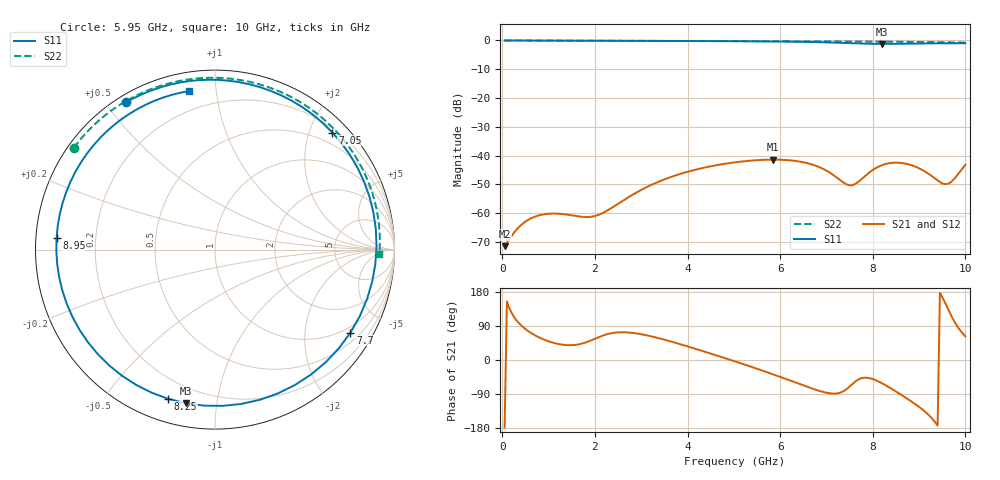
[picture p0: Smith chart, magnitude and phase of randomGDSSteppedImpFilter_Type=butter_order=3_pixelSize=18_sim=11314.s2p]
! freq	dB(S11)	phase(S11)	dB(S12)	phase(S12)
!  dB(S21)	phase(S21)	dB(S22)	phase(S22)
!S-par simulation data
#  GHz  S  DB  R 50
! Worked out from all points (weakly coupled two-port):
!   200 points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, 50 MHz to 10 GHz, reference 50 ohm
!   highest |S21| = -41.38 dB at 5.85 GHz (marker M1); lowest = -71.4 dB at 50 MHz (marker M2)
!   lowest |S11| = -1.2 dB at 8.2 GHz (marker M3), VSWR 14.54, Z = 5.77 - j41 ohm
!   |S11| at or under -10 dB: nowhere
!   |S22| runs from -0.8 to 0.0 dB; largest |S21 - S12| = 0
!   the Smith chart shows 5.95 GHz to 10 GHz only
!   S11 on the Smith chart (normalised r, x): 5.95 GHz: 0.03, +0.56; 7.05 GHz: 0.27, +2.39; 7.7 GHz: 0.79, -3.38; 8.25 GHz: 0.11, -0.73; 8.95 GHz: 0.06, +0.04; 10 GHz: 0.10, +0.85
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0.05  -0.00 -2.3  -71.44 -178.4  -71.44 -178.4  -0.00 -2.5
0.35  -0.01 -16.1  -64.96 98.4  -64.96 98.4  -0.01 -17.1
0.7  -0.03 -32.0  -61.22 65.6  -61.22 65.6  -0.04 -33.8
1.75  -0.09 -76.9  -61.29 44.3  -61.29 44.3  -0.09 -80.1
2.5  -0.12 -106.2  -56.71 72.9  -56.71 72.9  -0.12 -109.0
3.4  -0.16 -138.8  -48.90 56.9  -48.90 56.9  -0.15 -139.7
4.25  -0.20 -168.9  -44.58 26.5  -44.58 26.5  -0.18 -165.9
5.05  -0.26 161.3  -42.27 -4.7  -42.27 -4.7  -0.22 170.5
5.85  -0.35 126.2  -41.38 -38.0  -41.38 -38.0  -0.26 147.1
5.95  -0.37 121.2  -41.40 -42.3  -41.40 -42.3  -0.27 144.2
6.7  -0.55 74.7  -43.13 -75.7  -43.13 -75.7  -0.31 121.5
7.05  -0.69 44.9  -45.68 -87.5  -45.68 -87.5  -0.33 110.5
7.4  -0.88 7.3  -49.69 -79.9  -49.69 -79.9  -0.36 99.1
7.7  -1.06 -31.5  -48.95 -50.6  -48.95 -50.6  -0.38 89.0
7.95  -1.16 -66.4  -45.54 -48.6  -45.54 -48.6  -0.40 80.4
8.2  -1.20 -100.8  -43.31 -61.4  -43.31 -61.4  -0.42 71.5
8.25  -1.20 -107.4  -43.04 -64.7  -43.04 -64.7  -0.43 69.7
8.35  -1.19 -120.2  -42.65 -71.8  -42.65 -71.8  -0.44 66.1
8.65  -1.13 -154.8  -42.62 -94.6  -42.62 -94.6  -0.47 54.9
8.95  -1.06 175.9  -44.02 -119.3  -44.02 -119.3  -0.51 43.3
9.6  -0.97 125.3  -49.88 141.1  -49.88 141.1  -0.64 16.4
10  -0.96 99.3  -43.15 62.5  -43.15 62.5  -0.76 -1.5
